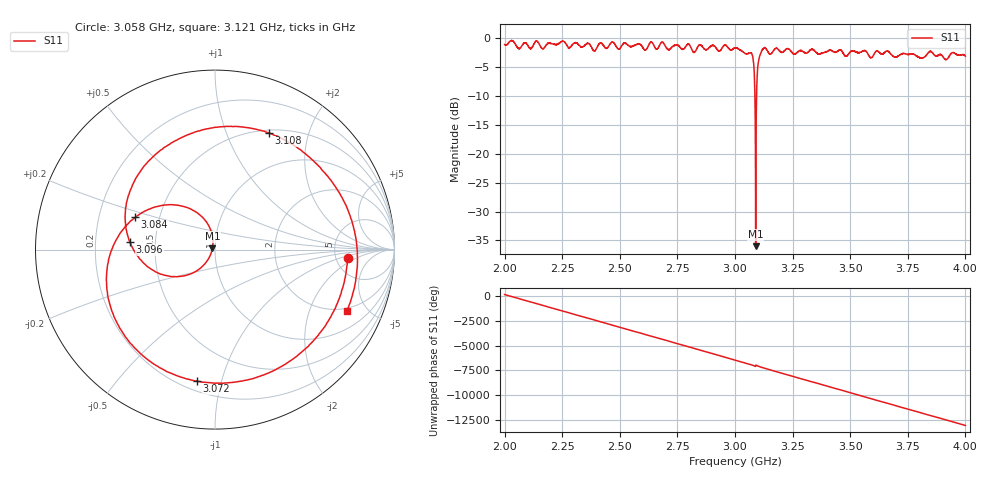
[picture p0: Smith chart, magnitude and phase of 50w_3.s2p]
!Agilent Technologies,E8362B,MY43021131,A.07.50.67
!Agilent E8362B: A.07.50.67
!Date: Thursday, March 14, 2024 14:00:54
!Correction: S11(Off)
!S21(Off)
!S12(Off)
!S22(Off)
!S2P File: Measurements: S11, S21, S12, S22:
# Hz S  RI  R 50
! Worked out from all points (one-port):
!   20001 points, 2 GHz to 4 GHz, reference 50 ohm
!   lowest |S11| = -36.0 dB at 3.09 GHz (marker M1), VSWR 1.03, Z = 48.6 + j0.672 ohm
!   |S11| at or under -10 dB: 3.086437 GHz to 3.093552 GHz (7.115 MHz wide, 0.23 % of centre)
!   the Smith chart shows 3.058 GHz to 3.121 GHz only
!   S11 on the Smith chart (normalised r, x): 3.058 GHz: 6.40, -1.37; 3.072 GHz: 0.26, -0.84; 3.084 GHz: 0.36, +0.17; 3.096 GHz: 0.35, +0.04; 3.108 GHz: 0.54, +1.42; 3.121 GHz: 1.82, -3.64
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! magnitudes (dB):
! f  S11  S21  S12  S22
! 2 GHz  -1.1  -  -  -
! 2.166 GHz  -1.8  -  -  -
! 2.252 GHz  -0.5  -  -  -
! 2.333 GHz  -1.5  -  -  -
! 2.667 GHz  -1.7  -  -  -
! 3 GHz  -1.6  -  -  -
! 3.058 GHz  -2.6  -  -  -
! 3.072 GHz  -2.6  -  -  -
! 3.078 GHz  -3.2  -  -  -
! 3.081 GHz  -4.3  -  -  -
! 3.084 GHz  -6.4  -  -  -
! 3.09 GHz  -36.0  -  -  -
! 3.096 GHz  -6.4  -  -  -
! 3.102 GHz  -3.9  -  -  -
! 3.108 GHz  -2.9  -  -  -
! 3.121 GHz  -1.8  -  -  -
! 3.333 GHz  -1.9  -  -  -
! 3.482 GHz  -3.1  -  -  -
! 3.562 GHz  -2.1  -  -  -
! 3.59 GHz  -3.4  -  -  -
! 3.667 GHz  -2.3  -  -  -
! 4 GHz  -3.1  -  -  -
